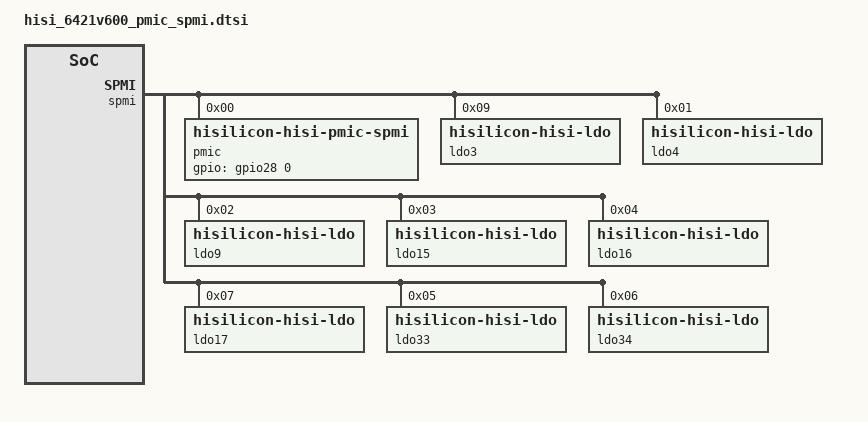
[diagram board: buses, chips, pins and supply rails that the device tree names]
/*
 *  Copyright (C) 2012-2013 Linaro Ltd.
 *
 *  This program is free software; you can redistribute it and/or modify
 *  it under the terms of the GNU General Public License version 2 as
 *  publishhed by the Free Software Foundation.
 */
 /*hisilicon,valid-modes-mask:
*#define REGULATOR_MODE_FAST                     0x1
*#define REGULATOR_MODE_NORMAL                   0x2
*#define REGULATOR_MODE_IDLE                     0x4
*#define REGULATOR_MODE_STANDBY                  0x8
*/
/*hisilicon,valid-idle-mask:
*#define REGULATOR_CHANGE_VOLTAGE        0x1
*#define REGULATOR_CHANGE_CURRENT        0x2
*#define REGULATOR_CHANGE_MODE           0x4
*#define REGULATOR_CHANGE_STATUS         0x8
*#define REGULATOR_CHANGE_DRMS           0x10
*#define REGULATOR_CHANGE_BYPASS         0x20
*/
/ {
	spmi: spmi@FFF24000 {
	        	pmic: pmic@0 {
			        compatible = "hisilicon-hisi-pmic-spmi";
				slave_id = <0>;
				reg = <0 0>;
				#interrupt-cells = <2>;
				interrupt-controller;
				gpios = <&gpio28 0 0>;
				pinctrl-names = "default";
				pinctrl-0 = <>;
				hisilicon,hisi-pmic-irq-num = <16>;/*hisi irq number*/
				hisilicon,hisi-pmic-irq-array = <2>;/*hisi irq array*/
				hisilicon,hisi-pmic-irq-mask-addr = <0x202 2>;/*hisi irq mask addr*/
				hisilicon,hisi-pmic-irq-addr = <0x212 2>;/*hisi irq addr*/
				hisilicon,pmic_fpga_flag=<0>;
				hisilicon,hisi-pmic-vbus = <0x6 1>;/*vbus status addr and bit*/
		         	hisilicon,hisi-pmic-lock = <0x125 0x7D>; /*lock: <addr value>*/
		        	hisilicon,hisi-pmic-debug-lock = <0x244 0x6C>;/*debug-lock: <addr value>*/
		        	spmi-slave-container;/*spmi-dev-container;*/
                        };
			/* need to modify according to the design */
			ldo3: ldo3@16 {
				compatible = "hisilicon-hisi-ldo";
				reg = <9 0>;
				regulator-name = "ldo3";
				regulator-min-microvolt = <1500000>;
				regulator-max-microvolt = <2000000>;
				hisilicon,hisi-ctrl = <0x16 0x01 0x00>;/*ctrl_reg、enable_mask、eco_mode_mask*/
				hisilicon,hisi-vset = <0x51 0x0F>;
                hisilicon,hisi-n-voltages = <16>;
				hisilicon,hisi-vset-table = <1500000>, <1550000>,
											<1600000>, <1650000>,
											<1700000>, <1725000>,
											<1750000>, <1775000>,
											<1800000>, <1825000>,
											<1850000>, <1875000>,
											<1900000>, <1925000>,
											<1950000>, <2000000>;
				hisilicon,hisi-off-on-delay-us = <20000>;
				hisilicon,hisi-enable-time-us = <120>;
				hisilicon,hisi-eco-microamp = <10000>;
				hisilicon,valid-modes-mask = <0x02>;
				hisilicon,valid-idle-mask = <0x09>;
			};

			ldo4: ldo4@17 { /* 40 PIN */
				compatible = "hisilicon-hisi-ldo";
				reg = <1 0>;
				regulator-name = "ldo4";
				regulator-min-microvolt = <1725000>;
				regulator-max-microvolt = <1900000>;
				hisilicon,hisi-ctrl = <0x17 0x01 0x10>;/*ctrl_reg、enable_mask、eco_mode_mask*/
				hisilicon,hisi-vset = <0x52 0x07>;
				hisilicon,hisi-n-voltages = <8>;
				hisilicon,hisi-vset-table = <1725000>, <1750000>,
											<1775000>, <1800000>,
											<1825000>, <1850000>,
											<1875000>, <1900000>;
				hisilicon,hisi-off-on-delay-us = <20000>;
				hisilicon,hisi-enable-time-us = <120>;
				hisilicon,hisi-eco-microamp = <10000>;
				hisilicon,valid-modes-mask = <0x06>;
				hisilicon,valid-idle-mask = <0x0D>;
			};

			ldo9: ldo9@1C { /* SDCARD I/O */
				compatible = "hisilicon-hisi-ldo";
				reg = <2 0>;
				regulator-name = "ldo9";
				regulator-min-microvolt = <1750000>;
				regulator-max-microvolt = <3300000>;
				hisilicon,hisi-ctrl = <0x1C 0x01 0x10>;
				hisilicon,hisi-vset = <0x57 0x07>;
				hisilicon,hisi-n-voltages = <8>;
				hisilicon,hisi-vset-table = <1750000>, <1800000>,
											<1825000>, <2800000>,
											<2850000>, <2950000>,
											<3000000>, <3300000>;
				hisilicon,hisi-off-on-delay-us = <20000>;
				hisilicon,hisi-enable-time-us = <360>;
				hisilicon,hisi-eco-microamp = <10000>;
				hisilicon,valid-modes-mask = <0x06>;
				hisilicon,valid-idle-mask = <0x0D>;
			};

			ldo15: ldo15@21 { /* UFS */
				compatible = "hisilicon-hisi-ldo";
				reg = <3 0>;
				regulator-name = "ldo15";
				regulator-always-on;
				regulator-min-microvolt = <1800000>;
				regulator-max-microvolt = <3000000>;
				hisilicon,hisi-ctrl = <0x21 0x01 0x10>;
				hisilicon,hisi-vset = <0x5C 0x07>;
				hisilicon,hisi-n-voltages = <8>;
				hisilicon,hisi-vset-table = <1800000>, <1850000>,
											<2400000>, <2600000>,
											<2700000>, <2850000>,
											<2950000>, <3000000>;
				hisilicon,hisi-off-on-delay-us = <20000>;
				hisilicon,hisi-enable-time-us = <120>;
				hisilicon,hisi-eco-microamp = <10000>;
				hisilicon,valid-modes-mask = <0x06>;
				hisilicon,valid-idle-mask = <0x0D>;
			};

			ldo16: ldo16@22 { /* SD */
				compatible = "hisilicon-hisi-ldo";
				reg = <4 0>;
				regulator-name = "ldo16";
				regulator-min-microvolt = <1800000>;
				regulator-max-microvolt = <3000000>;
				hisilicon,hisi-ctrl = <0x22 0x01 0x10>;
				hisilicon,hisi-vset = <0x5D 0x07>;
				hisilicon,hisi-n-voltages = <8>;
				hisilicon,hisi-vset-table = <1800000>, <1850000>,
											<2400000>, <2600000>,
											<2700000>, <2850000>,
											<2950000>, <3000000>;
				hisilicon,hisi-off-on-delay-us = <20000>;
				hisilicon,hisi-enable-time-us = <360>;
				hisilicon,hisi-eco-microamp = <10000>;
				hisilicon,valid-modes-mask = <0x06>;
				hisilicon,valid-idle-mask = <0x0D>;
			};

			ldo17: ldo17@23 {
				compatible = "hisilicon-hisi-ldo";
				reg = <7 0>;
				regulator-name = "ldo17";
				regulator-min-microvolt = <2500000>;
				regulator-max-microvolt = <3300000>;
				hisilicon,hisi-ctrl = <0x23 0x01 0x10>;
				hisilicon,hisi-vset = <0x5E 0x07>;
				hisilicon,hisi-n-voltages = <8>;
				hisilicon,hisi-vset-table = <2500000>, <2600000>,
											<2700000>, <2800000>,
											<3000000>, <3100000>,
											<3200000>, <3300000>;
				hisilicon,hisi-off-on-delay-us = <20000>;
				hisilicon,hisi-enable-time-us = <120>;
				hisilicon,hisi-eco-microamp = <10000>;
				hisilicon,valid-modes-mask = <0x06>;
				hisilicon,valid-idle-mask = <0x0D>;
			};

			ldo33: ldo33@32 { /* PEX8606 */
				compatible = "hisilicon-hisi-ldo";
				reg = <5 0>;
				regulator-name = "ldo33";
				regulator-min-microvolt = <2500000>;
				regulator-max-microvolt = <3300000>;
				hisilicon,hisi-ctrl = <0x32 0x01 0x00>;
				hisilicon,hisi-vset = <0x6D 0x07>;
				hisilicon,hisi-n-voltages = <8>;
				hisilicon,hisi-vset-table = <2500000>, <2600000>,
											<2700000>, <2800000>,
											<3000000>, <3100000>,
											<3200000>, <3300000>;
				hisilicon,hisi-off-on-delay-us = <20000>;
				hisilicon,hisi-enable-time-us = <120>;
				hisilicon,hisi-eco-microamp = <10000>;
				hisilicon,valid-modes-mask = <0x02>;
				hisilicon,valid-idle-mask = <0x09>;
			};

			ldo34: ldo34@33 { /* GPS AUX IN VDD*/
				compatible = "hisilicon-hisi-ldo";
				reg = <6 0>;
				regulator-name = "ldo34";
				regulator-min-microvolt = <2600000>;
				regulator-max-microvolt = <3300000>;
				hisilicon,hisi-ctrl = <0x33 0x01 0x00>;
				hisilicon,hisi-vset = <0x6E 0x07>;
				hisilicon,hisi-n-voltages = <8>;
				hisilicon,hisi-vset-table = <2600000>, <2700000>,
											<2800000>, <2900000>,
											<3000000>, <3100000>,
											<3200000>, <3300000>;
				hisilicon,hisi-off-on-delay-us = <20000>;
				hisilicon,hisi-enable-time-us = <120>;
				hisilicon,hisi-eco-microamp = <10000>;
				hisilicon,valid-modes-mask = <0x02>;
				hisilicon,valid-idle-mask = <0x09>;
			};
	};/*end of spmi*/
};

